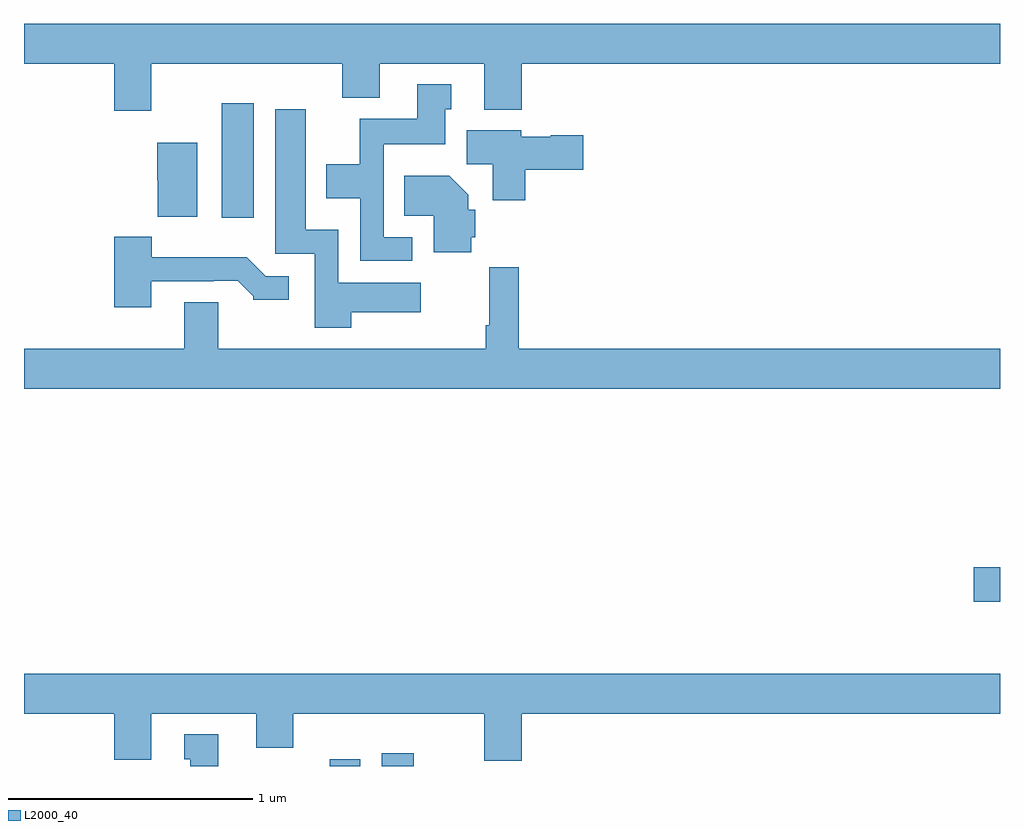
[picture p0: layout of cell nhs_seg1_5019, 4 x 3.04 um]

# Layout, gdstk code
import gdstk
lib = gdstk.Library(unit=1e-6, precision=1e-09)
def R(c, l, rs):  # rectangles x0, y0, x1, y1
    for r in rs: c.add(gdstk.rectangle(r[:2], r[2:], *l))
def P(c, l, *ps):  # polygons
    for p in ps: c.add(gdstk.Polygon(p, *l))
L2000_40 = (2000, 40)

nhs_seg1_5019 = lib.new_cell('nhs_seg1_5019')
R(nhs_seg1_5019, L2000_40, [(384.254,534.199,384.379,534.229), (384.467,534.199,384.598,534.253), (386.892,534.874,387,535.016), (383.81,536.448,383.941,536.917)])
P(nhs_seg1_5019, L2000_40, [(383.521,537.08),(384.305,537.08),(384.305,536.939),(384.457,536.939),(384.457,537.08),(384.887,537.08),(384.887,536.891),(385.04,536.891),(385.04,537.08),(387,537.08),(387,537.244),(383,537.244),(383,537.08),(383.369,537.08),(383.369,536.886),(383.521,536.886)],
  [(384.592,536.367),(384.474,536.367),(384.474,536.75),(384.727,536.75),(384.727,536.892),(384.751,536.892),(384.751,536.995),(384.611,536.995),(384.611,536.854),(384.376,536.854),(384.376,536.668),(384.239,536.668),(384.239,536.528),(384.378,536.528),(384.378,536.271),(384.592,536.271)],
  [(384.341,536.06),(384.625,536.06),(384.625,536.182),(384.288,536.182),(384.288,536.398),(384.154,536.398),(384.154,536.893),(384.029,536.893),(384.029,536.301),(384.192,536.301),(384.192,535.998),(384.341,535.998)],
  [(385.055,536.645),(385.291,536.645),(385.291,536.787),(385.158,536.787),(385.158,536.779),(385.038,536.779),(385.038,536.806),(384.815,536.806),(384.815,536.668),(384.921,536.668),(384.921,536.52),(385.055,536.52)],
  [(383.71,536.755),(383.546,536.755),(383.546,536.601),(383.548,536.601),(383.548,536.453),(383.71,536.453)],
  [(384.833,536.367),(384.849,536.367),(384.849,536.481),(384.82,536.481),(384.82,536.542),(384.742,536.62),(384.559,536.62),(384.559,536.456),(384.68,536.456),(384.68,536.306),(384.833,536.306)],
  [(383.521,536.187),(383.777,536.187),(383.777,536.19),(383.876,536.19),(383.94,536.126),(383.94,536.111),(384.085,536.111),(384.085,536.208),(383.991,536.208),(383.913,536.287),(383.524,536.287),(383.524,536.371),(383.369,536.371),(383.369,536.082),(383.521,536.082)],
  [(387,535.912),(385.028,535.912),(385.028,536.245),(384.907,536.245),(384.907,536.008),(384.892,536.008),(384.892,535.912),(383.797,535.912),(383.797,536.102),(383.657,536.102),(383.657,535.912),(383,535.912),(383,535.748),(387,535.748)],
  [(385.04,534.416),(387,534.416),(387,534.58),(383,534.58),(383,534.416),(383.369,534.416),(383.369,534.227),(383.521,534.227),(383.521,534.416),(383.951,534.416),(383.951,534.275),(384.104,534.275),(384.104,534.416),(384.887,534.416),(384.887,534.222),(385.04,534.222)],
  [(383.797,534.331),(383.657,534.331),(383.657,534.228),(383.681,534.228),(383.681,534.199),(383.797,534.199)])

lib.write_gds('nhs_seg1_5019.gds')
